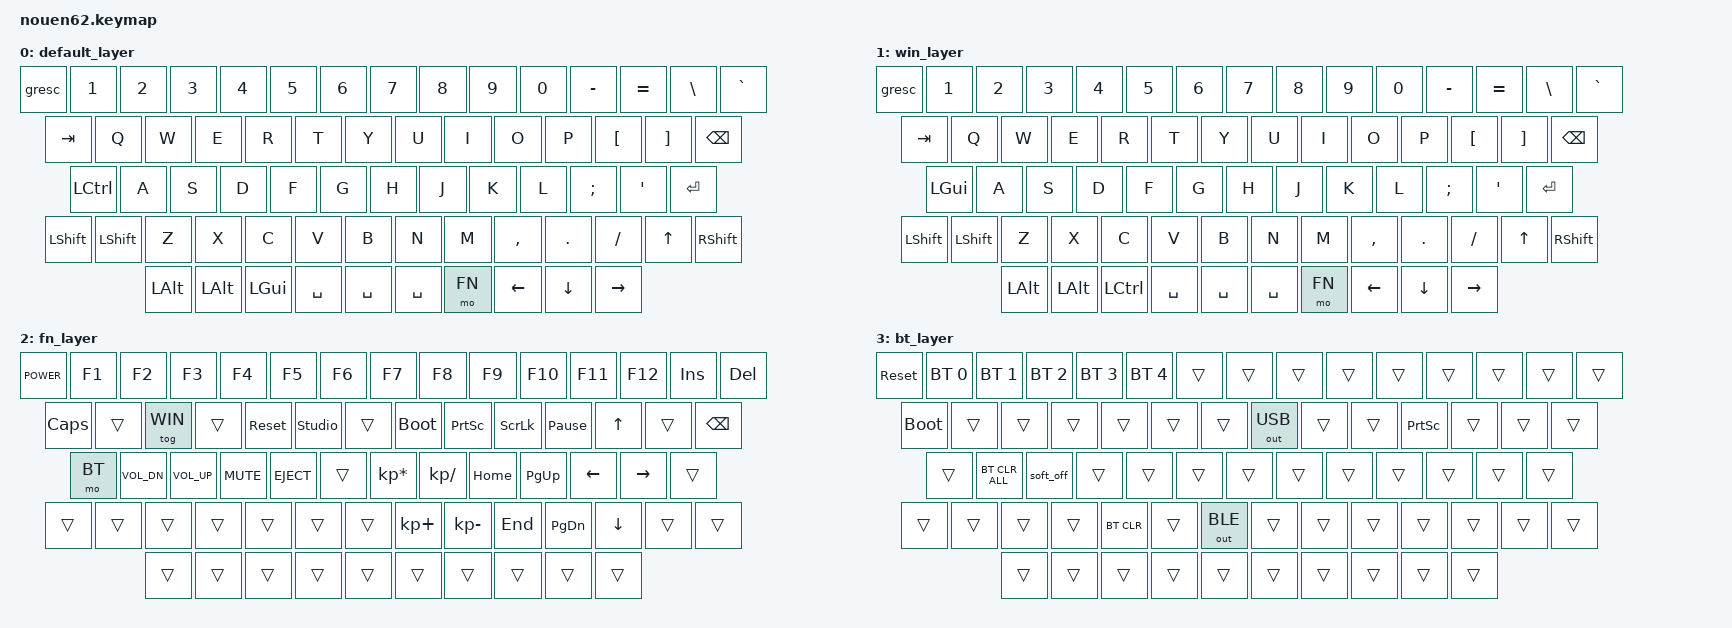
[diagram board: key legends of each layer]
/*
 * Copyright (c) 2021 Nick Winans
 *
 * SPDX-License-Identifier: MIT
 */

#include <behaviors.dtsi>
#include <dt-bindings/zmk/keys.h>
#include <dt-bindings/zmk/rgb.h>
#include <dt-bindings/zmk/bt.h>
#include <dt-bindings/zmk/outputs.h>
#include <dt-bindings/zmk/ext_power.h>

#define DEFAULT 0
#define WIN 1
#define FN 2
#define BT 3

/ {
  combos {
    compatible = "zmk,combos";
    
    combo_wakeup {
      timeout-ms = <100>;
      key-positions = <0 41>;  // ESC (0) + Enter (41)
      bindings = <&soft_off>;
    };
  };
  
  keymap {
    compatible = "zmk,keymap";
    
    default_layer {
      bindings = <
        &gresc     &kp N1   &kp N2   &kp N3   &kp N4   &kp N5   &kp N6   &kp N7   &kp N8     &kp N9   &kp N0    &kp MINUS  &kp EQUAL  &kp BSLH  &kp GRAVE  
        &kp TAB    &kp Q    &kp W    &kp E    &kp R    &kp T    &kp Y    &kp U    &kp I      &kp O    &kp P     &kp LBKT   &kp RBKT       &kp BSPC        
        &kp LCTRL   &kp A    &kp S  &kp D    &kp F    &kp G    &kp H    &kp J    &kp K      &kp L    &kp SEMI  &kp SQT           &kp RET                   
        &kp LSHFT  &kp LSHFT &kp Z    &kp X    &kp C    &kp V    &kp B    &kp N    &kp M    &kp COMMA  &kp DOT  &kp FSLH         &kp UP  &kp RSHFT     
        &kp LALT  &kp LALT &kp LGUI                    &kp SPACE   &kp SPACE   &kp SPACE                &mo FN    &kp LEFT   &kp DOWN  &kp RIGHT
      >;
    };

    win_layer {
      bindings = <
        &gresc     &kp N1   &kp N2   &kp N3   &kp N4   &kp N5   &kp N6   &kp N7   &kp N8     &kp N9   &kp N0    &kp MINUS  &kp EQUAL  &kp BSLH  &kp GRAVE  
        &kp TAB    &kp Q    &kp W    &kp E    &kp R    &kp T    &kp Y    &kp U    &kp I      &kp O    &kp P     &kp LBKT   &kp RBKT       &kp BSPC        
        &kp LGUI   &kp A    &kp S  &kp D    &kp F    &kp G    &kp H    &kp J    &kp K      &kp L    &kp SEMI  &kp SQT           &kp RET                   
        &kp LSHFT  &kp LSHFT &kp Z    &kp X    &kp C    &kp V    &kp B    &kp N    &kp M    &kp COMMA  &kp DOT  &kp FSLH         &kp UP  &kp RSHFT     
        &kp LALT  &kp LALT &kp LCTRL                    &kp SPACE   &kp SPACE   &kp SPACE                &mo FN    &kp LEFT   &kp DOWN  &kp RIGHT
      >;
    };

    fn_layer {
      bindings = <
        &kp K_POWER &kp F1 &kp F2 &kp F3 &kp F4 &kp F5 &kp F6 &kp F7 &kp F8 &kp F9 &kp F10 &kp F11 &kp F12 &kp INS &kp DEL
        &kp CAPS &trans &tog WIN &trans &sys_reset &studio_unlock &trans &bootloader &kp PSCRN &kp SLCK &kp PAUSE_BREAK &kp UP &trans &kp BSPC
        &mo BT &kp C_VOL_DN &kp C_VOL_UP &kp C_MUTE &kp C_EJECT &trans &kp KP_MULTIPLY &kp KP_DIVIDE &kp HOME &kp PG_UP &kp LEFT &kp RIGHT &trans
        &trans &trans &trans &trans &trans &trans &trans &kp KP_PLUS &kp KP_MINUS &kp END &kp PG_DN &kp DOWN &trans &trans
        &trans   &trans   &trans                           &trans    &trans &trans                        &trans      &trans    &trans   &trans   
      >;
    };
    
    bt_layer {
      bindings = <
        &sys_reset  &bt BT_SEL 0 &bt BT_SEL 1  &bt BT_SEL 2  &bt BT_SEL 3  &bt BT_SEL 4      &trans    &trans    &trans    &trans    &trans     &trans    &trans    &trans    &trans  
        &bootloader &trans    &trans    &trans    &trans    &trans    &trans    &out OUT_USB  &trans    &trans    &kp PRINTSCREEN &trans    &trans    &trans   
        &trans      &bt BT_CLR_ALL  &soft_off  &trans    &trans    &trans    &trans    &trans    &trans    &trans    &trans    &trans    &trans   
        &trans      &trans    &trans    &trans    &bt BT_CLR  &trans    &out OUT_BLE  &trans    &trans    &trans    &trans    &trans    &trans    &trans    
        &trans   &trans   &trans                         &trans &trans &trans                           &trans   &trans     &trans   &trans 
      >;
    };

    extra1 {
            status = "reserved";
        };

    extra2 {
            status = "reserved";
        };
    
  };
};
